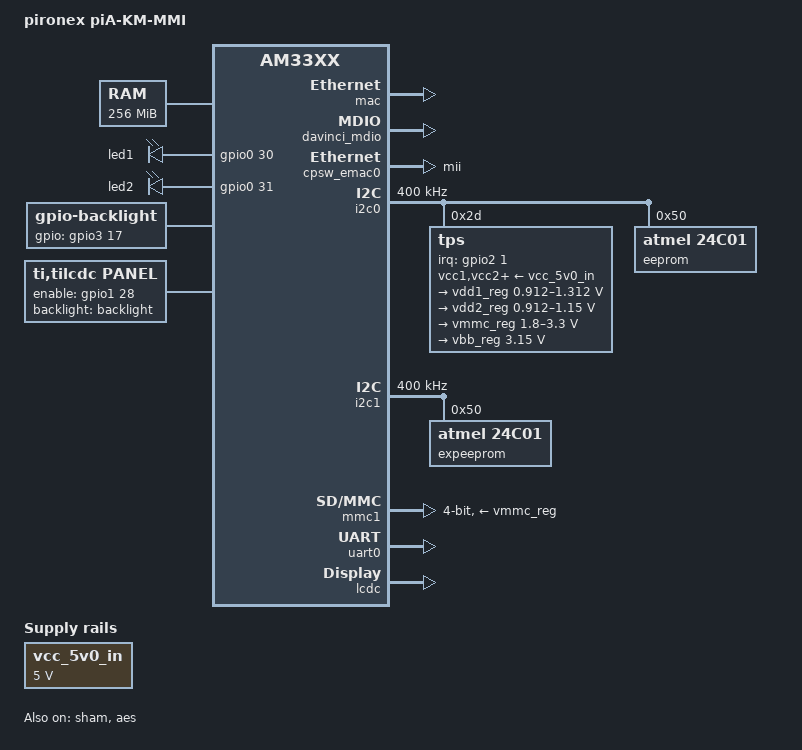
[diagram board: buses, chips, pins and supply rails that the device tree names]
/*
 * Copyright (C) 2015 pironex GmbH (http://www.pironex.de)
 *
 * This program is free software; you can redistribute it and/or modify
 * it under the terms of the GNU General Public License version 2 as
 * published by the Free Software Foundation.
 */
/dts-v1/;
#include "am33xx.dtsi"

/ {
	model = "pironex piA-KM-MMI";
	compatible = "pironex,am335x-km-mmi", "ti,am33xx";

	cpus {
		cpu@0 {
			/* CPU supply "vdd_mpu" */
			cpu0-supply = <&vdd1_reg>;
		};
	};

	memory {
		device_type = "memory";
		reg = <0x80000000 0x10000000>; /* 256 MB */
	};

	vcc_5v0_in: fixedregulator@0 {
		compatible = "regulator-fixed";
		regulator-name = "vcc_5v0_in";
		regulator-min-microvolt = <5000000>;
		regulator-max-microvolt = <5000000>;
		regulator-boot-on;
	};

	leds: leds {
		pinctrl-names = "default";
		pinctrl-0 = <&led_pins>;

		compatible = "gpio-leds";

		led@1 {
			label = "led1";
			gpios = <&gpio0 30 GPIO_ACTIVE_HIGH>;
			linux,default-trigger = "heartbeat";
			default-state = "on";
		};
		led@2 {
			label = "led2";
			gpios = <&gpio0 31 GPIO_ACTIVE_HIGH>;
			linux,default-trigger = "cpu";
			default-state = "on";
		};
	};

	backlight: backlight {
		pinctrl-names = "default";
		pinctrl-0 = <&backlight_pins>;

		compatible = "gpio-backlight";
		gpios = <&gpio3 17 GPIO_ACTIVE_HIGH>;
		default-on;
	};

	panel {
		compatible = "ti,tilcdc,panel";
		/*pinctrl-names = "default", "sleep";*/
		pinctrl-names = "default";
		pinctrl-0 = <&lcd_pins_default>;
		/*pinctrl-1 = <&lcd_pins_sleep>;*/
		backlight = <&backlight>;
		enable-gpios = <&gpio1 28 GPIO_ACTIVE_HIGH>;
		status = "okay";

		panel-info {
			ac-bias           = <255>;
			ac-bias-intrpt    = <0>;
			dma-burst-sz      = <16>;
			bpp               = <32>;
			fdd               = <0x80>;
			sync-edge         = <0>;
			sync-ctrl         = <1>;
			raster-order      = <0>;
			fifo-th           = <0>;
		};

		display-timings {
			480x272 {
				hactive         = <480>;
				vactive         = <272>;
				hback-porch     = <43>; /* 2 */
				hfront-porch    = <8>; /* 2 */
				hsync-len       = <4>; /* 41 */
				vback-porch     = <12>; /* 2 */
				vfront-porch    = <4>; /* 2 */
				vsync-len       = <10>; /* 10 */
				clock-frequency = <9000000>;
				hsync-active    = <0>;
				vsync-active    = <0>;
			};
		};
	};
};

&am33xx_pinmux {
	pinctrl-names = "default";

	cpsw_default: cpsw_default {
		pinctrl-single,pins = <
			/* Slave 1 */
			0x108 (PIN_INPUT_PULLUP | MUX_MODE0)	/* mii1_col.mii1_col */
			0x10C (PIN_INPUT_PULLUP | MUX_MODE0)	/* mii1_crs.mii1_crs */
			0x110 (PIN_INPUT_PULLUP | MUX_MODE0)	/* mii1_rxerr.mii1_rxerr */
			0x114 (PIN_OUTPUT_PULLDOWN | MUX_MODE0)	/* mii1_txen.mii1_txen */
			0x118 (PIN_INPUT_PULLUP | MUX_MODE0)	/* mii1_rxdv.mii1_rxdv */
			0x11c (PIN_OUTPUT_PULLDOWN | MUX_MODE0)	/* mii1_txd3.mii1_txd3 */
			0x120 (PIN_OUTPUT_PULLDOWN | MUX_MODE0)	/* mii1_txd2.mii1_txd2 */
			0x124 (PIN_OUTPUT_PULLDOWN | MUX_MODE0)	/* mii1_txd1.mii1_txd1 */
			0x128 (PIN_OUTPUT_PULLDOWN | MUX_MODE0)	/* mii1_txd0.mii1_txd0 */
			0x12c (PIN_INPUT_PULLUP | MUX_MODE0)	/* mii1_txclk.mii1_txclk */
			0x130 (PIN_INPUT_PULLUP | MUX_MODE0)	/* mii1_rxclk.mii1_rxclk */
			0x134 (PIN_INPUT_PULLUP | MUX_MODE0)	/* mii1_rxd3.mii1_rxd3 */
			0x138 (PIN_INPUT_PULLUP | MUX_MODE0)	/* mii1_rxd2.mii1_rxd2 */
			0x13c (PIN_INPUT_PULLUP | MUX_MODE0)	/* mii1_rxd1.mii1_rxd1 */
			0x140 (PIN_INPUT_PULLUP | MUX_MODE0)	/* mii1_rxd0.mii1_rxd0 */
		>;
	};

	cpsw_sleep: cpsw_sleep {
		pinctrl-single,pins = <
			/* Slave 1 reset value */
			0x108 (PIN_INPUT_PULLDOWN | MUX_MODE7)
			0x10C (PIN_INPUT_PULLDOWN | MUX_MODE7)
			0x110 (PIN_INPUT_PULLDOWN | MUX_MODE7)
			0x114 (PIN_INPUT_PULLDOWN | MUX_MODE7)
			0x118 (PIN_INPUT_PULLDOWN | MUX_MODE7)
			0x11c (PIN_INPUT_PULLDOWN | MUX_MODE7)
			0x120 (PIN_INPUT_PULLDOWN | MUX_MODE7)
			0x124 (PIN_INPUT_PULLDOWN | MUX_MODE7)
			0x128 (PIN_INPUT_PULLDOWN | MUX_MODE7)
			0x12c (PIN_INPUT_PULLDOWN | MUX_MODE7)
			0x130 (PIN_INPUT_PULLDOWN | MUX_MODE7)
			0x134 (PIN_INPUT_PULLDOWN | MUX_MODE7)
			0x138 (PIN_INPUT_PULLDOWN | MUX_MODE7)
			0x13c (PIN_INPUT_PULLDOWN | MUX_MODE7)
			0x140 (PIN_INPUT_PULLDOWN | MUX_MODE7)
		>;
	};

	davinci_mdio_default: davinci_mdio_default {
		pinctrl-single,pins = <
			/* MDIO */
			0x148 (PIN_INPUT_PULLUP | SLEWCTRL_FAST | MUX_MODE0)	/* mdio_data.mdio_data */
			0x14c (PIN_OUTPUT_PULLUP | MUX_MODE0)			/* mdio_clk.mdio_clk */
		>;
	};

	davinci_mdio_sleep: davinci_mdio_sleep {
		pinctrl-single,pins = <
			/* MDIO reset value */
			0x148 (PIN_INPUT_PULLDOWN | MUX_MODE7)
			0x14c (PIN_INPUT_PULLDOWN | MUX_MODE7)
		>;
	};

	lcd_pins_default: lcd_pins_default {
		pinctrl-single,pins = <
			0x98 (PIN_OUTPUT | MUX_MODE7)	/* gpmc_be1n.gpio1_28 */
			0x20 (PIN_OUTPUT | MUX_MODE1)	/* gpmc_ad8.lcd_data23 */
			0x24 (PIN_OUTPUT | MUX_MODE1)	/* gpmc_ad9.lcd_data22 */
			0x28 (PIN_OUTPUT | MUX_MODE1)	/* gpmc_ad10.lcd_data21 */
			0x2c (PIN_OUTPUT | MUX_MODE1)	/* gpmc_ad11.lcd_data20 */
			0x30 (PIN_OUTPUT | MUX_MODE1)	/* gpmc_ad12.lcd_data19 */
			0x34 (PIN_OUTPUT | MUX_MODE1)	/* gpmc_ad13.lcd_data18 */
			0x38 (PIN_OUTPUT | MUX_MODE1)	/* gpmc_ad14.lcd_data17 */
			0x3c (PIN_OUTPUT | MUX_MODE1)	/* gpmc_ad15.lcd_data16 */
			0xa0 (PIN_OUTPUT | MUX_MODE0)	/* lcd_data0.lcd_data0 */
			0xa4 (PIN_OUTPUT | MUX_MODE0)	/* lcd_data1.lcd_data1 */
			0xa8 (PIN_OUTPUT | MUX_MODE0)	/* lcd_data2.lcd_data2 */
			0xac (PIN_OUTPUT | MUX_MODE0)	/* lcd_data3.lcd_data3 */
			0xb0 (PIN_OUTPUT | MUX_MODE0)	/* lcd_data4.lcd_data4 */
			0xb4 (PIN_OUTPUT | MUX_MODE0)	/* lcd_data5.lcd_data5 */
			0xb8 (PIN_OUTPUT | MUX_MODE0)	/* lcd_data6.lcd_data6 */
			0xbc (PIN_OUTPUT | MUX_MODE0)	/* lcd_data7.lcd_data7 */
			0xc0 (PIN_OUTPUT | MUX_MODE0)	/* lcd_data8.lcd_data8 */
			0xc4 (PIN_OUTPUT | MUX_MODE0)	/* lcd_data9.lcd_data9 */
			0xc8 (PIN_OUTPUT | MUX_MODE0)	/* lcd_data10.lcd_data10 */
			0xcc (PIN_OUTPUT | MUX_MODE0)	/* lcd_data11.lcd_data11 */
			0xd0 (PIN_OUTPUT | MUX_MODE0)	/* lcd_data12.lcd_data12 */
			0xd4 (PIN_OUTPUT | MUX_MODE0)	/* lcd_data13.lcd_data13 */
			0xd8 (PIN_OUTPUT | MUX_MODE0)	/* lcd_data14.lcd_data14 */
			0xdc (PIN_OUTPUT | MUX_MODE0)	/* lcd_data15.lcd_data15 */
			0xe0 (PIN_OUTPUT | MUX_MODE0)	/* lcd_vsync.lcd_vsync */
			0xe4 (PIN_OUTPUT | MUX_MODE0)	/* lcd_hsync.lcd_hsync */
			0xe8 (PIN_OUTPUT | MUX_MODE0)	/* lcd_pclk.lcd_pclk */
			0xec (PIN_OUTPUT | MUX_MODE0)	/* lcd_ac_bias_en.lcd_ac_bias_en */
		>;
	};

	led_pins: pinmux_led {
		pinctrl-single,pins = <
			0x70 (PIN_OUTPUT_PULLDOWN | MUX_MODE7)	/* gpmc_wait0.gpio0_30 */
			0x74 (PIN_OUTPUT_PULLDOWN | MUX_MODE7)	/* gpmc_wpn.gpio0_31 */
		>;
	};

	backlight_pins: pinmux_backlight_pins {
		pinctrl-single,pins = <
			0x19C (PIN_OUTPUT | MUX_MODE7)	/* mcasp0_ahclkr.gpio3_17 */
		>;
	};

	/* I2C Bus 0 */
	i2c0_pins: pinmux_i2c0_pins {
		pinctrl-single,pins = <
			0x188 (PIN_INPUT_PULLUP | MUX_MODE0)	/* i2c0_sda.i2c0_sda */
			0x18c (PIN_INPUT_PULLUP | MUX_MODE0)	/* i2c0_scl.i2c0_scl */
		>;
	};

	i2c1_pins: pinmux_i2c1_pins {
		pinctrl-single,pins = <
			0x180 (PIN_INPUT_PULLUP | MUX_MODE3)	/* uart1_rxd.i2c1_sda */
			0x184 (PIN_INPUT_PULLUP | MUX_MODE3)	/* uart1_txd.i2c1_scl */
		>;
	};

	tps_pins: pinmux_tps {
		pinctrl-single,pins = <
			0x08C (PIN_INPUT_PULLUP | MUX_MODE7)	/* gpmc_clk.gpio2_1 */
		>;
	};

	/* Debug UART - not on PM but fixed as UART on baseboard */
	uart0_pins: pinmux_uart0_pins {
		pinctrl-single,pins = <
			0x170 (PIN_INPUT_PULLUP | MUX_MODE0)	/* uart0_rxd.uart0_rxd */
			0x174 (PIN_OUTPUT_PULLDOWN | MUX_MODE0)	/* uart0_txd.uart0_txd */
		>;
	};

	mmc1_pins: pinmux_mmc1_pins {
		pinctrl-single,pins = <
			0x0f0 (PIN_INPUT_PULLUP | MUX_MODE0)	/* mmc0_dat0.mmc0_dat0 */
			0x0f4 (PIN_INPUT_PULLUP | MUX_MODE0)	/* mmc0_dat1.mmc0_dat1 */
			0x0f8 (PIN_INPUT_PULLUP | MUX_MODE0)	/* mmc0_dat2.mmc0_dat2 */
			0x0fc (PIN_INPUT_PULLUP | MUX_MODE0)	/* mmc0_dat3.mmc0_dat3 */
			0x100 (PIN_INPUT_PULLUP | MUX_MODE0)	/* mmc0_clk.mmc0_clk */
			0x104 (PIN_INPUT_PULLUP | MUX_MODE0)	/* mmc0_cmd.mmc0_cmd */
		>;
	};
};

&mac {
	pinctrl-names = "default", "sleep";
	pinctrl-0 = <&cpsw_default>;
	pinctrl-1 = <&cpsw_sleep>;
	active_slave = <0>; /* only MII1 connected */

	status = "okay";
};

&davinci_mdio {
	pinctrl-names = "default", "sleep";
	pinctrl-0 = <&davinci_mdio_default>;
	pinctrl-1 = <&davinci_mdio_sleep>;

	status = "okay";
};

&cpsw_emac0 {
	phy_id = <&davinci_mdio>, <0>;
	phy-mode = "mii";
};

&i2c0 {
	pinctrl-names = "default";
	pinctrl-0 = <&i2c0_pins>;
	clock-frequency = <400000>; /* 400 kHz */

	status = "okay";

	/* TPS65910 PMIC */
	tps: tps@2d {
		reg = <0x2d>;
	};

	/* 24AA02E48 EEPROM with UID */
	eeprom@50 {
		compatible = "atmel,24c01";
		reg = <0x50>;
		pagesize = <8>;
	};

	/* TODO add missing devices */
};

&i2c1 {
	pinctrl-names = "default";
	pinctrl-0 = <&i2c1_pins>;
	clock-frequency = <400000>; /* 400 kHz */

	status = "okay";

	/* 24AA02E48 EEPROM with UID */
	expeeprom@50 {
		compatible = "atmel,24c01";
		reg = <0x50>;
		pagesize = <8>;
	};
};

/* uSD */
&mmc1 {
	vmmc-supply = <&vmmc_reg>;
	bus-width = <4>; /* 4 data lines */
	pinctrl-names = "default";
	pinctrl-0 = <&mmc1_pins>;
	/*cd-gpios = <&gpio3 21 GPIO_ACTIVE_HIGH>;*/

	status = "okay";
};

&rtc {
	/* RTC is used from TPS, make sure it is rtc0 */
	status = "disabled";
};

/* Debug UART */
&uart0 {
	pinctrl-names = "default";
	pinctrl-0 = <&uart0_pins>;

	status = "okay";
};

/* TPS65910 base configuration in tps65910.dtsi */
#include "tps65910.dtsi"

/* TPS65910 board specific configuration */ 
&tps {
	pinctrl-names = "default";
	pinctrl-0 = <&tps_pins>;

	interrupt-parent = <&gpio2>;
	interrupts = <1 2>; /* low flank */

	ti,en-ck32k-xtal;
	/* would do a reset on powerdown
	 * ti,system-power-controller; */

	vcc1-supply = <&vcc_5v0_in>;
	vcc2-supply = <&vcc_5v0_in>;
	vcc3-supply = <&vcc_5v0_in>;
	vcc4-supply = <&vcc_5v0_in>;
	vcc5-supply = <&vcc_5v0_in>;
	vcc6-supply = <&vcc_5v0_in>;
	vcc7-supply = <&vcc_5v0_in>;
	vccio-supply = <&vcc_5v0_in>;

	regulators {
		vrtc_reg: regulator@0 {
			regulator-always-on;
		};

		/* DDR3 IO voltage */
		vio_reg: regulator@1 {
			regulator-always-on;
		};

		vdd1_reg: regulator@2 {
			/* VDD_MPU voltage limits 0.95V - 1.26V with +/-4% tolerance 
			 * controlled by cpufreq */
			regulator-name = "vdd_mpu";
			regulator-min-microvolt = <912500>;
			regulator-max-microvolt = <1312500>;
			regulator-boot-on;
			regulator-always-on;
		};

		vdd2_reg: regulator@3 {
			/* VDD_CORE voltage limits 0.95V - 1.1V with +/-4% tolerance */
			regulator-name = "vdd_core";
			regulator-min-microvolt = <912500>;
			regulator-max-microvolt = <1150000>;
			regulator-boot-on;
			regulator-always-on;
		};

		vdd3_reg: regulator@4 {
			regulator-always-on;
		};

		vdig1_reg: regulator@5 {
			/* VDIG1 is not used on PM
			 * not setting always-on should disable the regulator after init */
			/* regulator-always-on; */
		};

		vdig2_reg: regulator@6 {
			regulator-always-on;
		};

		vpll_reg: regulator@7 {
			regulator-always-on;
		};

		vdac_reg: regulator@8 {
			regulator-always-on;
		};

		vaux1_reg: regulator@9 {
			regulator-always-on;
		};

		vaux2_reg: regulator@10 {
			regulator-always-on;
		};

		vaux33_reg: regulator@11 {
			regulator-always-on;
		};

		vmmc_reg: regulator@12 {
			regulator-min-microvolt = <1800000>;
			regulator-max-microvolt = <3300000>;
			regulator-always-on;
		};

		vbb_reg: regulator@13 {
			regulator-min-microvolt = <3150000>;
			regulator-max-microvolt = <3150000>;
			regulator-always-on;
		};
	};
};

&sham {
	status = "okay";
};

&aes {
	status = "okay";
};

&cppi41dma  {
	status = "okay";
};

&lcdc {
	status = "okay";
};
